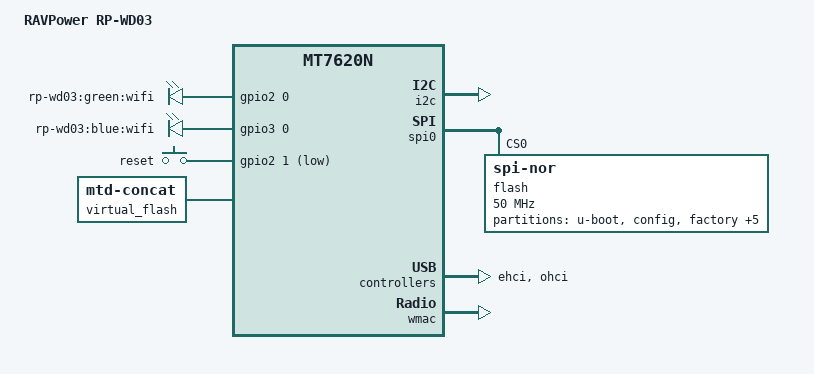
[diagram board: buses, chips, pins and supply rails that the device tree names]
/dts-v1/;

#include "mt7620n.dtsi"

#include <dt-bindings/gpio/gpio.h>
#include <dt-bindings/input/input.h>

/ {
	compatible = "ravpower,rp-wd03", "ralink,mt7620n-soc";
	model = "RAVPower RP-WD03";

	aliases {
		label-mac-device = &ethernet;
		led-boot = &led_wifi_blue;
		led-failsafe = &led_wifi_blue;
		led-running = &led_wifi_blue;
		led-upgrade = &led_wifi_blue;
	};

	leds {
		compatible = "gpio-leds";

		wifi_green {
			label = "rp-wd03:green:wifi";
			gpios = <&gpio2 0 GPIO_ACTIVE_HIGH>;
		};

		led_wifi_blue: wifi_blue {
			label = "rp-wd03:blue:wifi";
			gpios = <&gpio3 0 GPIO_ACTIVE_HIGH>;
		};
	};

	keys {
		compatible = "gpio-keys";

		reset {
			label = "reset";
			gpios = <&gpio2 1 GPIO_ACTIVE_LOW>;
			linux,code = <KEY_RESTART>;
		};
	};

	virtual_flash {
		compatible = "mtd-concat";

		devices = <&firmware1 &firmware2 &firmware3>;

		partitions {
			compatible = "fixed-partitions";
			#address-cells = <1>;
			#size-cells = <1>;

			partition@0 {
				compatible = "openwrt,okli";
				label = "firmware";
				reg = <0x0 0x0>;
			};
		};
	};
};

&gpio2 {
	status = "okay";
};

&gpio3 {
	status = "okay";
};

&i2c {
	status = "okay";
};

&spi0 {
	status = "okay";

	flash@0 {
		compatible = "jedec,spi-nor";
		reg = <0>;
		spi-max-frequency = <50000000>;
		m25p,fast-read;

		partitions {
			compatible = "fixed-partitions";
			#address-cells = <1>;
			#size-cells = <1>;

			partition@0 {
				label = "u-boot";
				reg = <0x0 0x30000>;
				read-only;
			};

			partition@30000 {
				label = "config";
				reg = <0x30000 0x10000>;
				read-only;
			};

			factory: partition@40000 {
				label = "factory";
				reg = <0x40000 0x10000>;
				read-only;
			};

			partition@50000 {
				label = "loader";
				reg = <0x50000 0x10000>;
				read-only;
			};

			firmware2: partition@60000 {
				label = "firmware2";
				reg = <0x60000 0x170000>;
			};

			partition@1d0000 {
				label = "u-boot-env";
				reg = <0x1d0000 0x10000>;
			};

			firmware3: partition@1e0000 {
				label = "firmware3";
				reg = <0x1e0000 0x20000>;
			};

			firmware1: partition@200000 {
				label = "firmware1";
				reg = <0x200000 0x600000>;
			};
		};
	};
};

&ehci {
	status = "okay";
};

&ohci {
	status = "okay";
};

&ethernet {
	mtd-mac-address = <&factory 0x28>;
};

&wmac {
	ralink,mtd-eeprom = <&factory 0x0>;
};

&state_default {
	gpio {
		groups = "wled", "ephy";
		function = "gpio";
	};
};
